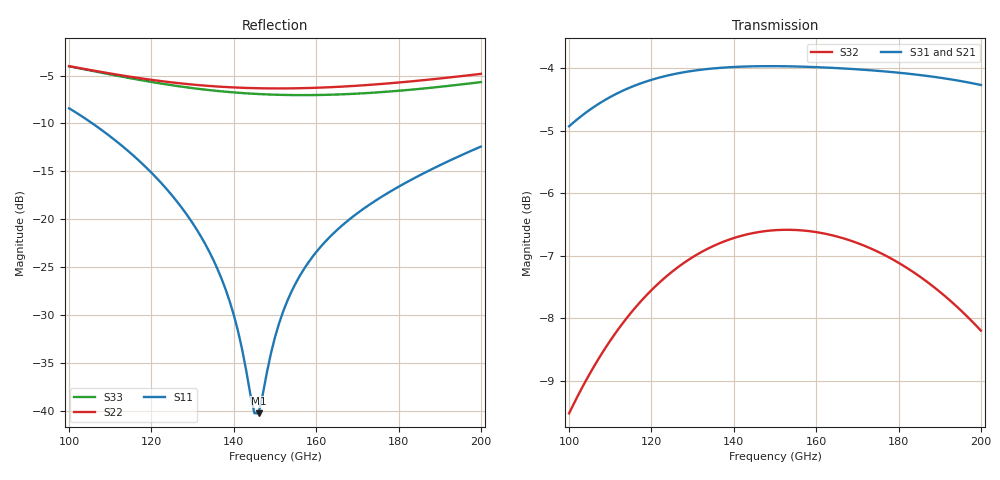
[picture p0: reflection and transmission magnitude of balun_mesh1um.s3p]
! Created with skrf 2.2.0 (http://scikit-rf.org).
# GHz S DB R 50.0
! Port[1] = P1
! Port[2] = P2
! Port[3] = P3
!freq dBS11 angS11 dBS12 angS12 dBS13 angS13
! dBS21 angS21 dBS22 angS22 dBS23 angS23
! dBS31 angS31 dBS32 angS32 dBS33 angS33
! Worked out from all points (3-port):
!   101 points, 100 GHz to 200 GHz, reference 50 ohm
!   strongest paths, dB at 100 GHz, 125 GHz, 150 GHz, 175 GHz, 200 GHz:
!     S31: -4.9, -4.1, -4.0, -4.0, -4.3
!     S21: -4.7, -4.0, -4.0, -4.2, -4.7
!     S32: -9.5, -7.3, -6.6, -6.9, -8.2
!   lowest |S11| = -40.2 dB at 146 GHz (marker M1), VSWR 1.02, Z = 49 - j0.0634 ohm
!   |S11| at or under -10 dB: 105.7 GHz to end of sweep
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100  -8.42 129.6  -4.69 -11.2  -4.93 165.1
     -4.69 -11.2  -4.02 60.0  -9.52 90.8
     -4.93 165.1  -9.52 90.8  -4.03 50.0
118  -14.30 106.5  -4.09 -38.8  -4.23 136.0
     -4.09 -38.8  -5.33 44.0  -7.69 63.7
     -4.23 136.0  -7.69 63.7  -5.52 31.4
131  -21.07 96.3  -3.96 -56.8  -4.04 116.8
     -3.96 -56.8  -5.98 34.2  -6.98 45.7
     -4.04 116.8  -6.98 45.7  -6.37 20.3
139  -28.56 98.0  -3.95 -67.3  -3.99 105.7
     -3.95 -67.3  -6.22 28.5  -6.74 35.2
     -3.99 105.7  -6.74 35.2  -6.73 14.0
145  -40.22 153.5  -3.97 -74.9  -3.97 97.6
     -3.97 -74.9  -6.32 24.3  -6.63 27.5
     -3.97 97.6  -6.63 27.5  -6.91 9.5
146  -40.23 -176.2  -3.97 -76.2  -3.97 96.3
     -3.97 -76.2  -6.33 23.6  -6.62 26.3
     -3.97 96.3  -6.62 26.3  -6.93 8.7
150  -32.29 -126.7  -3.99 -81.1  -3.97 91.0
     -3.99 -81.1  -6.34 20.7  -6.59 21.3
     -3.97 91.0  -6.59 21.3  -7.00 5.7
156  -25.91 -118.0  -4.03 -88.4  -3.98 83.2
     -4.03 -88.4  -6.32 16.4  -6.59 14.0
     -3.98 83.2  -6.59 14.0  -7.04 1.3
165  -21.14 -117.8  -4.11 -99.2  -4.00 71.8
     -4.11 -99.2  -6.18 9.5  -6.69 3.2
     -4.00 71.8  -6.69 3.2  -6.98 -5.6
200  -12.41 -132.4  -4.68 -141.3  -4.27 27.6
     -4.68 -141.3  -4.83 -20.8  -8.20 -37.9
     -4.27 27.6  -8.20 -37.9  -5.68 -35.1
